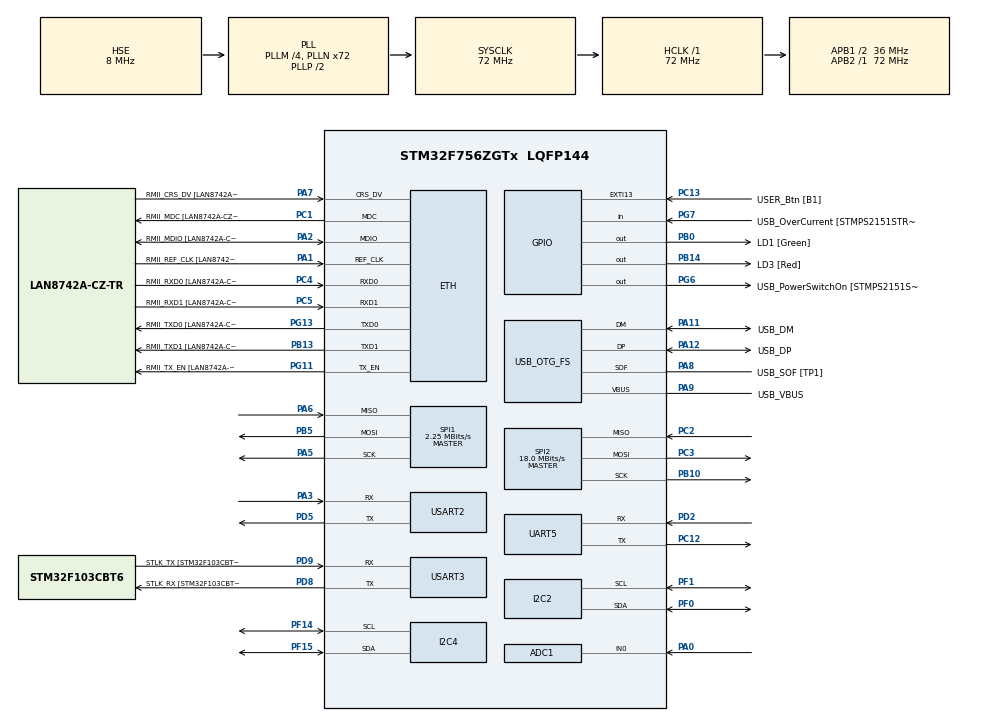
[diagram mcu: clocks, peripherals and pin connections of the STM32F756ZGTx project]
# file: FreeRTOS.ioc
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ADC1.Channel-2\#ChannelRegularConversion=ADC_CHANNEL_0
ADC1.NbrOfConversionFlag=1
ADC1.Rank-2\#ChannelRegularConversion=1
ADC1.SamplingTime-2\#ChannelRegularConversion=ADC_SAMPLETIME_480CYCLES
ADC1.master=1
Dma.I2C2_RX.6.Direction=DMA_PERIPH_TO_MEMORY
Dma.I2C2_RX.6.FIFOMode=DMA_FIFOMODE_DISABLE
Dma.I2C2_RX.6.Instance=DMA1_Stream3
Dma.I2C2_RX.6.MemDataAlignment=DMA_MDATAALIGN_BYTE
Dma.I2C2_RX.6.MemInc=DMA_MINC_ENABLE
Dma.I2C2_RX.6.Mode=DMA_NORMAL
Dma.I2C2_RX.6.PeriphDataAlignment=DMA_PDATAALIGN_BYTE
Dma.I2C2_RX.6.PeriphInc=DMA_PINC_DISABLE
Dma.I2C2_RX.6.Priority=DMA_PRIORITY_LOW
Dma.I2C2_TX.7.Direction=DMA_MEMORY_TO_PERIPH
Dma.I2C2_TX.7.FIFOMode=DMA_FIFOMODE_DISABLE
Dma.I2C2_TX.7.Instance=DMA1_Stream7
Dma.I2C2_TX.7.MemDataAlignment=DMA_MDATAALIGN_BYTE
Dma.I2C2_TX.7.MemInc=DMA_MINC_ENABLE
Dma.I2C2_TX.7.Mode=DMA_NORMAL
Dma.I2C2_TX.7.PeriphDataAlignment=DMA_PDATAALIGN_BYTE
Dma.I2C2_TX.7.PeriphInc=DMA_PINC_DISABLE
Dma.I2C2_TX.7.Priority=DMA_PRIORITY_LOW
Dma.I2C4_RX.5.Direction=DMA_PERIPH_TO_MEMORY
Dma.I2C4_RX.5.FIFOMode=DMA_FIFOMODE_DISABLE
Dma.I2C4_RX.5.Instance=DMA1_Stream2
Dma.I2C4_RX.5.MemDataAlignment=DMA_MDATAALIGN_BYTE
Dma.I2C4_RX.5.MemInc=DMA_MINC_ENABLE
Dma.I2C4_RX.5.Mode=DMA_NORMAL
Dma.I2C4_RX.5.PeriphDataAlignment=DMA_PDATAALIGN_BYTE
Dma.I2C4_RX.5.PeriphInc=DMA_PINC_DISABLE
Dma.I2C4_RX.5.Priority=DMA_PRIORITY_LOW
Dma.Request0=SPI1_RX
Dma.Request1=SPI1_TX
Dma.Request2=SPI2_TX
Dma.Request3=USART2_TX
Dma.Request4=UART5_RX
Dma.Request5=I2C4_RX
Dma.Request6=I2C2_RX
Dma.Request7=I2C2_TX
Dma.SPI1_RX.0.Direction=DMA_PERIPH_TO_MEMORY
Dma.SPI1_RX.0.FIFOMode=DMA_FIFOMODE_DISABLE
Dma.SPI1_RX.0.Instance=DMA2_Stream0
Dma.SPI1_RX.0.MemDataAlignment=DMA_MDATAALIGN_BYTE
Dma.SPI1_RX.0.MemInc=DMA_MINC_ENABLE
Dma.SPI1_RX.0.Mode=DMA_NORMAL
Dma.SPI1_RX.0.PeriphDataAlignment=DMA_PDATAALIGN_BYTE
Dma.SPI1_RX.0.PeriphInc=DMA_PINC_DISABLE
Dma.SPI1_RX.0.Priority=DMA_PRIORITY_LOW
Dma.SPI1_TX.1.Direction=DMA_MEMORY_TO_PERIPH
Dma.SPI1_TX.1.FIFOMode=DMA_FIFOMODE_DISABLE
Dma.SPI1_TX.1.Instance=DMA2_Stream3
Dma.SPI1_TX.1.MemDataAlignment=DMA_MDATAALIGN_BYTE
Dma.SPI1_TX.1.MemInc=DMA_MINC_ENABLE
Dma.SPI1_TX.1.Mode=DMA_NORMAL
Dma.SPI1_TX.1.PeriphDataAlignment=DMA_PDATAALIGN_BYTE
Dma.SPI1_TX.1.PeriphInc=DMA_PINC_DISABLE
Dma.SPI1_TX.1.Priority=DMA_PRIORITY_LOW
Dma.SPI2_TX.2.Direction=DMA_MEMORY_TO_PERIPH
Dma.SPI2_TX.2.FIFOMode=DMA_FIFOMODE_DISABLE
Dma.SPI2_TX.2.Instance=DMA1_Stream4
Dma.SPI2_TX.2.MemDataAlignment=DMA_MDATAALIGN_BYTE
Dma.SPI2_TX.2.MemInc=DMA_MINC_ENABLE
Dma.SPI2_TX.2.Mode=DMA_NORMAL
Dma.SPI2_TX.2.PeriphDataAlignment=DMA_PDATAALIGN_BYTE
Dma.SPI2_TX.2.PeriphInc=DMA_PINC_DISABLE
Dma.SPI2_TX.2.Priority=DMA_PRIORITY_LOW
Dma.UART5_RX.4.Direction=DMA_PERIPH_TO_MEMORY
Dma.UART5_RX.4.FIFOMode=DMA_FIFOMODE_DISABLE
Dma.UART5_RX.4.Instance=DMA1_Stream0
Dma.UART5_RX.4.MemDataAlignment=DMA_MDATAALIGN_BYTE
Dma.UART5_RX.4.MemInc=DMA_MINC_ENABLE
Dma.UART5_RX.4.Mode=DMA_NORMAL
Dma.UART5_RX.4.PeriphDataAlignment=DMA_PDATAALIGN_BYTE
Dma.UART5_RX.4.PeriphInc=DMA_PINC_DISABLE
Dma.UART5_RX.4.Priority=DMA_PRIORITY_LOW
Dma.USART2_TX.3.Direction=DMA_MEMORY_TO_PERIPH
Dma.USART2_TX.3.FIFOMode=DMA_FIFOMODE_DISABLE
Dma.USART2_TX.3.Instance=DMA1_Stream6
Dma.USART2_TX.3.MemDataAlignment=DMA_MDATAALIGN_BYTE
Dma.USART2_TX.3.MemInc=DMA_MINC_ENABLE
Dma.USART2_TX.3.Mode=DMA_NORMAL
Dma.USART2_TX.3.PeriphDataAlignment=DMA_PDATAALIGN_BYTE
Dma.USART2_TX.3.PeriphInc=DMA_PINC_DISABLE
Dma.USART2_TX.3.Priority=DMA_PRIORITY_LOW
ETH.MediaInterface=HAL_ETH_RMII_MODE
ETH.PHY_Name=LAN8742A_PHY_ADDRESS
ETH.PHY_Value=0
ETH.PhyAddress=0
FREERTOS.Tasks01=defaultTask,24,256,StartDefaultTask,Default,NULL,Dynamic,NULL,NULL
FREERTOS.configTOTAL_HEAP_SIZE=65000
FREERTOS.configUSE_NEWLIB_REENTRANT=1
I2C2.Timing=0x00808CD2
I2C4.Timing=0x00808CD2
LWIP.BSP.number=1
LWIP.CMSIS_VERSION-Enabled=1
LWIP.GATEWAY_ADDRESS=192.168.001.001
LWIP.IP_ADDRESS=192.168.001.028
LWIP.LWIP_DHCP=0
LWIP.NETMASK_ADDRESS=255.255.255.000
LWIP.Version=v2.1.2_Cube
LWIP0.BSP.STBoard=false
LWIP0.BSP.api=BSP_COMPONENT_DRIVER
LWIP0.BSP.component=LAN8742
LWIP0.BSP.instance=LAN8742
LWIP0.BSP.name=Driver_PHY
LWIP0.BSP.semaphore=S_LAN8742
LWIP0.BSP.solution=LAN8742
Mcu.Family=STM32F7
Mcu.Name=STM32F756ZGTx
Mcu.Package=LQFP144
NVIC.DMA1_Stream0_IRQn=true\:5\:0\:false\:false\:true\:true\:false\:true\:true
NVIC.DMA1_Stream2_IRQn=true\:5\:0\:false\:false\:true\:true\:false\:true\:true
NVIC.DMA1_Stream3_IRQn=true\:5\:0\:false\:false\:true\:true\:false\:true\:true
NVIC.DMA1_Stream4_IRQn=true\:5\:0\:false\:false\:true\:true\:false\:true\:true
NVIC.DMA1_Stream6_IRQn=true\:5\:0\:false\:false\:true\:true\:false\:true\:true
NVIC.DMA1_Stream7_IRQn=true\:5\:0\:false\:false\:true\:true\:false\:true\:true
NVIC.DMA2_Stream0_IRQn=true\:5\:0\:false\:false\:true\:true\:false\:true\:true
NVIC.DMA2_Stream3_IRQn=true\:5\:0\:false\:false\:true\:true\:false\:true\:true
NVIC.ETH_IRQn=true\:5\:0\:false\:false\:true\:true\:false\:true\:true
NVIC.PriorityGroup=NVIC_PRIORITYGROUP_4
NVIC.SPI1_IRQn=true\:5\:0\:false\:false\:true\:true\:true\:true\:true
NVIC.SPI2_IRQn=true\:5\:0\:false\:false\:true\:true\:true\:true\:true
NVIC.TIM1_UP_TIM10_IRQn=true\:5\:0\:false\:false\:true\:true\:true\:true\:true
NVIC.TIM6_DAC_IRQn=true\:15\:0\:false\:false\:true\:false\:false\:true\:true
NVIC.TimeBase=TIM6_DAC_IRQn
NVIC.TimeBaseIP=TIM6
NVIC.UART5_IRQn=true\:5\:0\:false\:false\:true\:true\:true\:true\:true
NVIC.USART2_IRQn=true\:5\:0\:false\:false\:true\:true\:true\:true\:true
PA0/WKUP.Signal=ADCx_IN0
PA1.GPIO_Label=RMII_REF_CLK [LAN8742A-CZ-TR_REFCLK0]
PA1.Mode=RMII
PA1.Signal=ETH_REF_CLK
PA10.GPIO_Label=USB_ID
PA10.Signal=USB_OTG_FS_ID
PA11.GPIO_Label=USB_DM
PA11.Mode=Device_Only
PA11.Signal=USB_OTG_FS_DM
PA12.GPIO_Label=USB_DP
PA12.Mode=Device_Only
PA12.Signal=USB_OTG_FS_DP
PA13.GPIO_Label=TMS
PA13.Mode=Trace_Asynchronous_SW
PA13.Signal=SYS_JTMS-SWDIO
PA14.GPIO_Label=TCK
PA14.Mode=Trace_Asynchronous_SW
PA14.Signal=SYS_JTCK-SWCLK
PA2.GPIO_Label=RMII_MDIO [LAN8742A-CZ-TR_MDIO]
PA2.Mode=RMII
PA2.Signal=ETH_MDIO
PA3.Mode=Asynchronous
PA3.Signal=USART2_RX
PA5.Mode=Full_Duplex_Master
PA5.Signal=SPI1_SCK
PA6.Mode=Full_Duplex_Master
PA6.Signal=SPI1_MISO
PA7.GPIO_Label=RMII_CRS_DV [LAN8742A-CZ-TR_CRS_DV]
PA7.Mode=RMII
PA7.Signal=ETH_CRS_DV
PA8.GPIO_Label=USB_SOF [TP1]
PA8.Mode=Activate_SOF_FS
PA8.Signal=USB_OTG_FS_SOF
PA9.GPIO_Label=USB_VBUS
PA9.Mode=Activate_VBUS
PA9.Signal=USB_OTG_FS_VBUS
PB0.GPIO_Label=LD1 [Green]
PB0.Signal=GPIO_Output
PB10.Mode=Full_Duplex_Master
PB10.Signal=SPI2_SCK
PB13.GPIO_Label=RMII_TXD1 [LAN8742A-CZ-TR_TXD1]
PB13.Mode=RMII
PB13.Signal=ETH_TXD1
PB14.GPIO_Label=LD3 [Red]
PB14.Signal=GPIO_Output
PB3.GPIO_Label=SW0
PB3.Mode=Trace_Asynchronous_SW
PB3.Signal=SYS_JTDO-SWO
PB5.Mode=Full_Duplex_Master
PB5.Signal=SPI1_MOSI
PB8.Signal=I2C1_SCL
PC1.GPIO_Label=RMII_MDC [LAN8742A-CZ-TR_MDC]
PC1.Mode=RMII
PC1.Signal=ETH_MDC
PC12.Mode=Asynchronous
PC12.Signal=UART5_TX
PC13.GPIO_Label=USER_Btn [B1]
PC13.Signal=GPXTI13
PC14/OSC32_IN.Mode=LSE-External-Oscillator
PC14/OSC32_IN.Signal=RCC_OSC32_IN
PC15/OSC32_OUT.Mode=LSE-External-Oscillator
PC15/OSC32_OUT.Signal=RCC_OSC32_OUT
PC2.Mode=Full_Duplex_Master
PC2.Signal=SPI2_MISO
PC3.Mode=Full_Duplex_Master
PC3.Signal=SPI2_MOSI
PC4.GPIO_Label=RMII_RXD0 [LAN8742A-CZ-TR_RXD0]
PC4.Mode=RMII
PC4.Signal=ETH_RXD0
PC5.GPIO_Label=RMII_RXD1 [LAN8742A-CZ-TR_RXD1]
PC5.Mode=RMII
PC5.Signal=ETH_RXD1
PD2.Mode=Asynchronous
PD2.Signal=UART5_RX
PD5.Mode=Asynchronous
PD5.Signal=USART2_TX
PD8.GPIO_Label=STLK_RX [STM32F103CBT6_PA3]
PD8.Mode=Asynchronous
PD8.Signal=USART3_TX
PD9.GPIO_Label=STLK_TX [STM32F103CBT6_PA2]
PD9.Mode=Asynchronous
PD9.Signal=USART3_RX
PF0.Mode=I2C
PF0.Signal=I2C2_SDA
PF1.Mode=I2C
PF1.Signal=I2C2_SCL
PF14.Mode=I2C
PF14.Signal=I2C4_SCL
PF15.Mode=I2C
PF15.Signal=I2C4_SDA
PG11.GPIO_Label=RMII_TX_EN [LAN8742A-CZ-TR_TXEN]
PG11.Mode=RMII
PG11.Signal=ETH_TX_EN
PG13.GPIO_Label=RMII_TXD0 [LAN8742A-CZ-TR_TXD0]
PG13.Mode=RMII
PG13.Signal=ETH_TXD0
PG6.GPIO_Label=USB_PowerSwitchOn [STMPS2151STR_EN]
PG6.Signal=GPIO_Output
PG7.GPIO_Label=USB_OverCurrent [STMPS2151STR_FAULT]
PG7.Signal=GPIO_Input
PH0/OSC_IN.GPIO_Label=MCO [STM32F103CBT6_PA8]
PH0/OSC_IN.Mode=HSE-External-Clock-Source
PH0/OSC_IN.Signal=RCC_OSC_IN
PH1/OSC_OUT.Mode=HSE-External-Clock-Source
PH1/OSC_OUT.Signal=RCC_OSC_OUT
ProjectManager.HeapSize=0x200
ProjectManager.StackSize=0x400
ProjectManager.TargetToolchain=STM32CubeIDE
RCC.48MHZClocksFreq_Value=24000000
RCC.AHBFreq_Value=72000000
RCC.APB1CLKDivider=RCC_HCLK_DIV2
RCC.APB1Freq_Value=36000000
RCC.APB1TimFreq_Value=72000000
RCC.APB2Freq_Value=72000000
RCC.APB2TimFreq_Value=72000000
RCC.CortexFreq_Value=72000000
RCC.HCLKFreq_Value=72000000
RCC.HSE_VALUE=8000000
RCC.HSI_VALUE=16000000
RCC.PLLM=4
RCC.PLLMUL=RCC_PLL_MUL9
RCC.PLLN=72
RCC.PLLQ=3
RCC.PRESCALERUSB=RCC_USBCLKSOURCE_PLL_DIV1_5
RCC.SYSCLKFreq_VALUE=72000000
RCC.SYSCLKSource=RCC_SYSCLKSOURCE_PLLCLK
RCC.SYSCLKSourceVirtual=RCC_SYSCLKSOURCE_PLLCLK
RCC.USBFreq_Value=48000000
RCC.VCOOutputFreq_Value=144000000
SH.ADCx_IN0.0=ADC1_IN0,IN0
SPI1.BaudRatePrescaler=SPI_BAUDRATEPRESCALER_32
SPI1.CRCCalculation=SPI_CRCCALCULATION_DISABLE
SPI1.CalculateBaudRate=2.25 MBits/s
SPI1.DataSize=SPI_DATASIZE_8BIT
SPI1.Direction=SPI_DIRECTION_2LINES
SPI1.FirstBit=SPI_FIRSTBIT_LSB
SPI1.Mode=SPI_MODE_MASTER
SPI1.VirtualType=VM_MASTER
SPI2.CRCCalculation=SPI_CRCCALCULATION_DISABLE
SPI2.CalculateBaudRate=18.0 MBits/s
SPI2.DataSize=SPI_DATASIZE_8BIT
SPI2.Direction=SPI_DIRECTION_2LINES
SPI2.Mode=SPI_MODE_MASTER
SPI2.NSSPMode=SPI_NSS_PULSE_DISABLE
SPI2.VirtualType=VM_MASTER
TIM1.Period=9999
TIM1.Prescaler=7199
USART2.VirtualMode-Asynchronous=VM_ASYNC
USART3.VirtualMode-Asynchronous=VM_ASYNC
USB_OTG_FS.VirtualMode=Device_Only
VP_FREERTOS_VS_CMSIS_V2.Mode=CMSIS_V2
VP_LWIP_VS_Enabled.Mode=Enabled
VP_SYS_VS_tim6.Mode=TIM6
VP_TIM1_VS_ClockSourceINT.Mode=Internal
board=NUCLEO-F756ZG

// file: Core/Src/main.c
/* USER CODE BEGIN Header */
/**
  ******************************************************************************
  * @file           : main.c
  * @brief          : Main program body
  ******************************************************************************
  * @attention
  *
  * Copyright (c) 2025 STMicroelectronics.
  * All rights reserved.
  *
  * This software is licensed under terms that can be found in the LICENSE file
  * in the root directory of this software component.
  * If no LICENSE file comes with this software, it is provided AS-IS.
  *
  ******************************************************************************
  */
/* USER CODE END Header */
#include "main.h"
#include "cmsis_os.h"
#include "lwip.h"

#include "test_uart.h"
#include "test_spi.h"
#include "test_i2c.h"
#include "test_timer.h"
#include "test_adc.h"
#include "test_results.h"
/* USER CODE BEGIN Includes */
#include "udp_server.h"
#include "FreeRTOS.h"
#include "semphr.h"
extern struct netif gnetif;
extern SemaphoreHandle_t udp_tx_mutex;
/* USER CODE END Includes */

/* USER CODE BEGIN PTD */
extern QueueHandle_t   xQueue_adc;
extern QueueHandle_t   xQueue_uart;
extern QueueHandle_t   xQueue_spi;
extern QueueHandle_t   xQueue_i2c;
extern QueueHandle_t   xQueue_tmr;
extern  volatile uint8_t udp_packet_ready ;
/* USER CODE END PTD */

ADC_HandleTypeDef hadc1;

I2C_HandleTypeDef hi2c2;
I2C_HandleTypeDef hi2c4;
DMA_HandleTypeDef hdma_i2c2_rx;
DMA_HandleTypeDef hdma_i2c2_tx;
DMA_HandleTypeDef hdma_i2c4_rx;

SPI_HandleTypeDef hspi1;
SPI_HandleTypeDef hspi2;
DMA_HandleTypeDef hdma_spi1_rx;
DMA_HandleTypeDef hdma_spi1_tx;
DMA_HandleTypeDef hdma_spi2_tx;

TIM_HandleTypeDef htim1;

UART_HandleTypeDef huart5;
UART_HandleTypeDef huart2;
UART_HandleTypeDef huart3;
DMA_HandleTypeDef hdma_uart5_rx;
DMA_HandleTypeDef hdma_usart2_tx;

PCD_HandleTypeDef hpcd_USB_OTG_FS;

/* Definitions for defaultTask */
osThreadId_t defaultTaskHandle;
const osThreadAttr_t defaultTask_attributes = {
  .name = "defaultTask",
  .stack_size = 256 * 4,
  .priority = (osPriority_t) osPriorityNormal,
};

void SystemClock_Config(void);
static void MX_GPIO_Init(void);
static void MX_DMA_Init(void);
static void MX_USB_OTG_FS_PCD_Init(void);
static void MX_ADC1_Init(void);
static void MX_SPI1_Init(void);
static void MX_TIM1_Init(void);
static void MX_SPI2_Init(void);
static void MX_USART2_UART_Init(void);
static void MX_UART5_Init(void);
static void MX_I2C4_Init(void);
static void MX_I2C2_Init(void);
static void MX_USART3_UART_Init(void);
void StartDefaultTask(void *argument);

int main(void)
{

  /* MCU Configuration--------------------------------------------------------*/

  /* Reset of all peripherals, Initializes the Flash interface and the Systick. */
  HAL_Init();

  /* Configure the system clock */
  SystemClock_Config();

  /* Initialize all configured peripherals */
  MX_GPIO_Init();
  MX_DMA_Init();
  MX_USB_OTG_FS_PCD_Init();
  MX_ADC1_Init();
  MX_SPI1_Init();
  MX_TIM1_Init();
  MX_SPI2_Init();
  MX_USART2_UART_Init();
  MX_UART5_Init();
  MX_I2C4_Init();
  MX_I2C2_Init();
  MX_USART3_UART_Init();

  /* Init scheduler */

  osKernelInitialize();

  /* USER CODE BEGIN 2 */

   init_adc_task();
   init_i2c_task();
  // init_spi_task();
   init_tmr_task();
   init_uart_task();
   init_result();
   /* USER CODE END 2 */

  /* Create the thread(s) */
  /* creation of defaultTask */
  defaultTaskHandle = osThreadNew(StartDefaultTask, NULL, &defaultTask_attributes);

  /* Start scheduler */
  osKernelStart();

  /* We should never get here as control is now taken by the scheduler */

  /* Infinite loop */
  while (1)
  {

  }
}

void SystemClock_Config(void)
{
  RCC_OscInitTypeDef RCC_OscInitStruct = {0};
  RCC_ClkInitTypeDef RCC_ClkInitStruct = {0};

  /** Configure LSE Drive Capability
  */
  HAL_PWR_EnableBkUpAccess();

  /** Configure the main internal regulator output voltage
  */
  __HAL_RCC_PWR_CLK_ENABLE();
  __HAL_PWR_VOLTAGESCALING_CONFIG(PWR_REGULATOR_VOLTAGE_SCALE3);

  /** Initializes the RCC Oscillators according to the specified parameters
  * in the RCC_OscInitTypeDef structure.
  */
  RCC_OscInitStruct.OscillatorType = RCC_OSCILLATORTYPE_HSE;
  RCC_OscInitStruct.HSEState = RCC_HSE_BYPASS;
  RCC_OscInitStruct.PLL.PLLState = RCC_PLL_ON;
  RCC_OscInitStruct.PLL.PLLSource = RCC_PLLSOURCE_HSE;
  RCC_OscInitStruct.PLL.PLLM = 4;
  RCC_OscInitStruct.PLL.PLLN = 72;
  RCC_OscInitStruct.PLL.PLLP = RCC_PLLP_DIV2;
  RCC_OscInitStruct.PLL.PLLQ = 3;
  if (HAL_RCC_OscConfig(&RCC_OscInitStruct) != HAL_OK)
  {
    Error_Handler();
  }

  /** Initializes the CPU, AHB and APB buses clocks
  */
  RCC_ClkInitStruct.ClockType = RCC_CLOCKTYPE_HCLK|RCC_CLOCKTYPE_SYSCLK
                              |RCC_CLOCKTYPE_PCLK1|RCC_CLOCKTYPE_PCLK2;
  RCC_ClkInitStruct.SYSCLKSource = RCC_SYSCLKSOURCE_PLLCLK;
  RCC_ClkInitStruct.AHBCLKDivider = RCC_SYSCLK_DIV1;
  RCC_ClkInitStruct.APB1CLKDivider = RCC_HCLK_DIV2;
  RCC_ClkInitStruct.APB2CLKDivider = RCC_HCLK_DIV1;

  if (HAL_RCC_ClockConfig(&RCC_ClkInitStruct, FLASH_LATENCY_2) != HAL_OK)
  {
    Error_Handler();
  }
}

static void MX_ADC1_Init(void)
{

  ADC_ChannelConfTypeDef sConfig = {0};

  /** Configure the global features of the ADC (Clock, Resolution, Data Alignment and number of conversion)
  */
  hadc1.Instance = ADC1;
  hadc1.Init.ClockPrescaler = ADC_CLOCK_SYNC_PCLK_DIV2;
  hadc1.Init.Resolution = ADC_RESOLUTION_12B;
  hadc1.Init.ScanConvMode = ADC_SCAN_DISABLE;
  hadc1.Init.ContinuousConvMode = DISABLE;
  hadc1.Init.DiscontinuousConvMode = DISABLE;
  hadc1.Init.ExternalTrigConvEdge = ADC_EXTERNALTRIGCONVEDGE_NONE;
  hadc1.Init.ExternalTrigConv = ADC_SOFTWARE_START;
  hadc1.Init.DataAlign = ADC_DATAALIGN_RIGHT;
  hadc1.Init.NbrOfConversion = 1;
  hadc1.Init.DMAContinuousRequests = DISABLE;
  hadc1.Init.EOCSelection = ADC_EOC_SINGLE_CONV;
  if (HAL_ADC_Init(&hadc1) != HAL_OK)
  {
    Error_Handler();
  }

  /** Configure for the selected ADC regular channel its corresponding rank in the sequencer and its sample time.
  */
  sConfig.Channel = ADC_CHANNEL_0;
  sConfig.Rank = ADC_REGULAR_RANK_1;
  sConfig.SamplingTime = ADC_SAMPLETIME_480CYCLES;
  if (HAL_ADC_ConfigChannel(&hadc1, &sConfig) != HAL_OK)
  {
    Error_Handler();
  }

}

static void MX_I2C2_Init(void)
{

  hi2c2.Instance = I2C2;
  hi2c2.Init.Timing = 0x00808CD2;
  hi2c2.Init.OwnAddress1 = 0;
  hi2c2.Init.AddressingMode = I2C_ADDRESSINGMODE_7BIT;
  hi2c2.Init.DualAddressMode = I2C_DUALADDRESS_DISABLE;
  hi2c2.Init.OwnAddress2 = 0;
  hi2c2.Init.OwnAddress2Masks = I2C_OA2_NOMASK;
  hi2c2.Init.GeneralCallMode = I2C_GENERALCALL_DISABLE;
  hi2c2.Init.NoStretchMode = I2C_NOSTRETCH_DISABLE;
  if (HAL_I2C_Init(&hi2c2) != HAL_OK)
  {
    Error_Handler();
  }

  /** Configure Analogue filter
  */
  if (HAL_I2CEx_ConfigAnalogFilter(&hi2c2, I2C_ANALOGFILTER_ENABLE) != HAL_OK)
  {
    Error_Handler();
  }

  /** Configure Digital filter
  */
  if (HAL_I2CEx_ConfigDigitalFilter(&hi2c2, 0) != HAL_OK)
  {
    Error_Handler();
  }

}

static void MX_I2C4_Init(void)
{

  hi2c4.Instance = I2C4;
  hi2c4.Init.Timing = 0x00808CD2;
  hi2c4.Init.OwnAddress1 = 0;
  hi2c4.Init.AddressingMode = I2C_ADDRESSINGMODE_7BIT;
  hi2c4.Init.DualAddressMode = I2C_DUALADDRESS_DISABLE;
  hi2c4.Init.OwnAddress2 = 0;
  hi2c4.Init.OwnAddress2Masks = I2C_OA2_NOMASK;
  hi2c4.Init.GeneralCallMode = I2C_GENERALCALL_DISABLE;
  hi2c4.Init.NoStretchMode = I2C_NOSTRETCH_DISABLE;
  if (HAL_I2C_Init(&hi2c4) != HAL_OK)
  {
    Error_Handler();
  }

  /** Configure Analogue filter
  */
  if (HAL_I2CEx_ConfigAnalogFilter(&hi2c4, I2C_ANALOGFILTER_ENABLE) != HAL_OK)
  {
    Error_Handler();
  }

  /** Configure Digital filter
  */
  if (HAL_I2CEx_ConfigDigitalFilter(&hi2c4, 0) != HAL_OK)
  {
    Error_Handler();
  }

}

static void MX_SPI1_Init(void)
{

  /* SPI1 parameter configuration*/
  hspi1.Instance = SPI1;
  hspi1.Init.Mode = SPI_MODE_MASTER;
  hspi1.Init.Direction = SPI_DIRECTION_2LINES;
  hspi1.Init.DataSize = SPI_DATASIZE_8BIT;
  hspi1.Init.CLKPolarity = SPI_POLARITY_LOW;
  hspi1.Init.CLKPhase = SPI_PHASE_1EDGE;
  hspi1.Init.NSS = SPI_NSS_SOFT;
  hspi1.Init.BaudRatePrescaler = SPI_BAUDRATEPRESCALER_32;
  hspi1.Init.FirstBit = SPI_FIRSTBIT_LSB;
  hspi1.Init.TIMode = SPI_TIMODE_DISABLE;
  hspi1.Init.CRCCalculation = SPI_CRCCALCULATION_DISABLE;
  hspi1.Init.CRCPolynomial = 7;
  hspi1.Init.CRCLength = SPI_CRC_LENGTH_DATASIZE;
  hspi1.Init.NSSPMode = SPI_NSS_PULSE_ENABLE;
  if (HAL_SPI_Init(&hspi1) != HAL_OK)
  {
    Error_Handler();
  }

}

static void MX_SPI2_Init(void)
{

  /* SPI2 parameter configuration*/
  hspi2.Instance = SPI2;
  hspi2.Init.Mode = SPI_MODE_MASTER;
  hspi2.Init.Direction = SPI_DIRECTION_2LINES;
  hspi2.Init.DataSize = SPI_DATASIZE_8BIT;
  hspi2.Init.CLKPolarity = SPI_POLARITY_LOW;
  hspi2.Init.CLKPhase = SPI_PHASE_1EDGE;
  hspi2.Init.NSS = SPI_NSS_SOFT;
  hspi2.Init.BaudRatePrescaler = SPI_BAUDRATEPRESCALER_2;
  hspi2.Init.FirstBit = SPI_FIRSTBIT_MSB;
  hspi2.Init.TIMode = SPI_TIMODE_DISABLE;
  hspi2.Init.CRCCalculation = SPI_CRCCALCULATION_DISABLE;
  hspi2.Init.CRCPolynomial = 7;
  hspi2.Init.CRCLength = SPI_CRC_LENGTH_DATASIZE;
  hspi2.Init.NSSPMode = SPI_NSS_PULSE_DISABLE;
  if (HAL_SPI_Init(&hspi2) != HAL_OK)
  {
    Error_Handler();
  }

}

static void MX_TIM1_Init(void)
{

  TIM_ClockConfigTypeDef sClockSourceConfig = {0};
  TIM_MasterConfigTypeDef sMasterConfig = {0};

  htim1.Instance = TIM1;
  htim1.Init.Prescaler = 7199;
  htim1.Init.CounterMode = TIM_COUNTERMODE_UP;
  htim1.Init.Period = 9999;
  htim1.Init.ClockDivision = TIM_CLOCKDIVISION_DIV1;
  htim1.Init.RepetitionCounter = 0;
  htim1.Init.AutoReloadPreload = TIM_AUTORELOAD_PRELOAD_DISABLE;
  if (HAL_TIM_Base_Init(&htim1) != HAL_OK)
  {
    Error_Handler();
  }
  sClockSourceConfig.ClockSource = TIM_CLOCKSOURCE_INTERNAL;
  if (HAL_TIM_ConfigClockSource(&htim1, &sClockSourceConfig) != HAL_OK)
  {
    Error_Handler();
  }
  sMasterConfig.MasterOutputTrigger = TIM_TRGO_RESET;
  sMasterConfig.MasterOutputTrigger2 = TIM_TRGO2_RESET;
  sMasterConfig.MasterSlaveMode = TIM_MASTERSLAVEMODE_DISABLE;
  if (HAL_TIMEx_MasterConfigSynchronization(&htim1, &sMasterConfig) != HAL_OK)
  {
    Error_Handler();
  }

}

static void MX_UART5_Init(void)
{

  huart5.Instance = UART5;
  huart5.Init.BaudRate = 115200;
  huart5.Init.WordLength = UART_WORDLENGTH_8B;
  huart5.Init.StopBits = UART_STOPBITS_1;
  huart5.Init.Parity = UART_PARITY_NONE;
  huart5.Init.Mode = UART_MODE_TX_RX;
  huart5.Init.HwFlowCtl = UART_HWCONTROL_NONE;
  huart5.Init.OverSampling = UART_OVERSAMPLING_16;
  huart5.Init.OneBitSampling = UART_ONE_BIT_SAMPLE_DISABLE;
  huart5.AdvancedInit.AdvFeatureInit = UART_ADVFEATURE_NO_INIT;
  if (HAL_UART_Init(&huart5) != HAL_OK)
  {
    Error_Handler();
  }

}

static void MX_USART2_UART_Init(void)
{

  huart2.Instance = USART2;
  huart2.Init.BaudRate = 115200;
  huart2.Init.WordLength = UART_WORDLENGTH_8B;
  huart2.Init.StopBits = UART_STOPBITS_1;
  huart2.Init.Parity = UART_PARITY_NONE;
  huart2.Init.Mode = UART_MODE_TX_RX;
  huart2.Init.HwFlowCtl = UART_HWCONTROL_NONE;
  huart2.Init.OverSampling = UART_OVERSAMPLING_16;
  huart2.Init.OneBitSampling = UART_ONE_BIT_SAMPLE_DISABLE;
  huart2.AdvancedInit.AdvFeatureInit = UART_ADVFEATURE_NO_INIT;
  if (HAL_UART_Init(&huart2) != HAL_OK)
  {
    Error_Handler();
  }

}

static void MX_USART3_UART_Init(void)
{

  huart3.Instance = USART3;
  huart3.Init.BaudRate = 115200;
  huart3.Init.WordLength = UART_WORDLENGTH_8B;
  huart3.Init.StopBits = UART_STOPBITS_1;
  huart3.Init.Parity = UART_PARITY_NONE;
  huart3.Init.Mode = UART_MODE_TX_RX;
  huart3.Init.HwFlowCtl = UART_HWCONTROL_NONE;
  huart3.Init.OverSampling = UART_OVERSAMPLING_16;
  huart3.Init.OneBitSampling = UART_ONE_BIT_SAMPLE_DISABLE;
  huart3.AdvancedInit.AdvFeatureInit = UART_ADVFEATURE_NO_INIT;
  if (HAL_UART_Init(&huart3) != HAL_OK)
  {
    Error_Handler();
  }

}

static void MX_USB_OTG_FS_PCD_Init(void)
{

  hpcd_USB_OTG_FS.Instance = USB_OTG_FS;
  hpcd_USB_OTG_FS.Init.dev_endpoints = 6;
  hpcd_USB_OTG_FS.Init.speed = PCD_SPEED_FULL;
  hpcd_USB_OTG_FS.Init.dma_enable = DISABLE;
  hpcd_USB_OTG_FS.Init.phy_itface = PCD_PHY_EMBEDDED;
  hpcd_USB_OTG_FS.Init.Sof_enable = ENABLE;
  hpcd_USB_OTG_FS.Init.low_power_enable = DISABLE;
  hpcd_USB_OTG_FS.Init.lpm_enable = DISABLE;
  hpcd_USB_OTG_FS.Init.vbus_sensing_enable = ENABLE;
  hpcd_USB_OTG_FS.Init.use_dedicated_ep1 = DISABLE;
  if (HAL_PCD_Init(&hpcd_USB_OTG_FS) != HAL_OK)
  {
    Error_Handler();
  }

}

static void MX_DMA_Init(void)
{

  /* DMA controller clock enable */
  __HAL_RCC_DMA2_CLK_ENABLE();
  __HAL_RCC_DMA1_CLK_ENABLE();

  /* DMA interrupt init */
  /* DMA1_Stream0_IRQn interrupt configuration */
  HAL_NVIC_SetPriority(DMA1_Stream0_IRQn, 5, 0);
  HAL_NVIC_EnableIRQ(DMA1_Stream0_IRQn);
  /* DMA1_Stream2_IRQn interrupt configuration */
  HAL_NVIC_SetPriority(DMA1_Stream2_IRQn, 5, 0);
  HAL_NVIC_EnableIRQ(DMA1_Stream2_IRQn);
  /* DMA1_Stream3_IRQn interrupt configuration */
  HAL_NVIC_SetPriority(DMA1_Stream3_IRQn, 5, 0);
  HAL_NVIC_EnableIRQ(DMA1_Stream3_IRQn);
  /* DMA1_Stream4_IRQn interrupt configuration */
  HAL_NVIC_SetPriority(DMA1_Stream4_IRQn, 5, 0);
  HAL_NVIC_EnableIRQ(DMA1_Stream4_IRQn);
  /* DMA1_Stream6_IRQn interrupt configuration */
  HAL_NVIC_SetPriority(DMA1_Stream6_IRQn, 5, 0);
  HAL_NVIC_EnableIRQ(DMA1_Stream6_IRQn);
  /* DMA1_Stream7_IRQn interrupt configuration */
  HAL_NVIC_SetPriority(DMA1_Stream7_IRQn, 5, 0);
  HAL_NVIC_EnableIRQ(DMA1_Stream7_IRQn);
  /* DMA2_Stream0_IRQn interrupt configuration */
  HAL_NVIC_SetPriority(DMA2_Stream0_IRQn, 5, 0);
  HAL_NVIC_EnableIRQ(DMA2_Stream0_IRQn);
  /* DMA2_Stream3_IRQn interrupt configuration */
  HAL_NVIC_SetPriority(DMA2_Stream3_IRQn, 5, 0);
  HAL_NVIC_EnableIRQ(DMA2_Stream3_IRQn);

}

static void MX_GPIO_Init(void)
{
  GPIO_InitTypeDef GPIO_InitStruct = {0};

  /* GPIO Ports Clock Enable */
  __HAL_RCC_GPIOC_CLK_ENABLE();
  __HAL_RCC_GPIOF_CLK_ENABLE();
  __HAL_RCC_GPIOH_CLK_ENABLE();
  __HAL_RCC_GPIOA_CLK_ENABLE();
  __HAL_RCC_GPIOB_CLK_ENABLE();
  __HAL_RCC_GPIOD_CLK_ENABLE();
  __HAL_RCC_GPIOG_CLK_ENABLE();

  /*Configure GPIO pin Output Level */
  HAL_GPIO_WritePin(GPIOB, LD1_Pin|LD3_Pin, GPIO_PIN_RESET);

  /*Configure GPIO pin Output Level */
  HAL_GPIO_WritePin(USB_PowerSwitchOn_GPIO_Port, USB_PowerSwitchOn_Pin, GPIO_PIN_RESET);

  /*Configure GPIO pin : USER_Btn_Pin */
  GPIO_InitStruct.Pin = USER_Btn_Pin;
  GPIO_InitStruct.Mode = GPIO_MODE_IT_RISING;
  GPIO_InitStruct.Pull = GPIO_NOPULL;
  HAL_GPIO_Init(USER_Btn_GPIO_Port, &GPIO_InitStruct);

  /*Configure GPIO pins : LD1_Pin LD3_Pin */
  GPIO_InitStruct.Pin = LD1_Pin|LD3_Pin;
  GPIO_InitStruct.Mode = GPIO_MODE_OUTPUT_PP;
  GPIO_InitStruct.Pull = GPIO_NOPULL;
  GPIO_InitStruct.Speed = GPIO_SPEED_FREQ_LOW;
  HAL_GPIO_Init(GPIOB, &GPIO_InitStruct);

  /*Configure GPIO pin : USB_PowerSwitchOn_Pin */
  GPIO_InitStruct.Pin = USB_PowerSwitchOn_Pin;
  GPIO_InitStruct.Mode = GPIO_MODE_OUTPUT_PP;
  GPIO_InitStruct.Pull = GPIO_NOPULL;
  GPIO_InitStruct.Speed = GPIO_SPEED_FREQ_LOW;
  HAL_GPIO_Init(USB_PowerSwitchOn_GPIO_Port, &GPIO_InitStruct);

  /*Configure GPIO pin : USB_OverCurrent_Pin */
  GPIO_InitStruct.Pin = USB_OverCurrent_Pin;
  GPIO_InitStruct.Mode = GPIO_MODE_INPUT;
  GPIO_InitStruct.Pull = GPIO_NOPULL;
  HAL_GPIO_Init(USB_OverCurrent_GPIO_Port, &GPIO_InitStruct);

  /*Configure GPIO pin : PB8 */
  GPIO_InitStruct.Pin = GPIO_PIN_8;
  GPIO_InitStruct.Mode = GPIO_MODE_AF_OD;
  GPIO_InitStruct.Pull = GPIO_NOPULL;
  GPIO_InitStruct.Speed = GPIO_SPEED_FREQ_VERY_HIGH;
  GPIO_InitStruct.Alternate = GPIO_AF4_I2C1;
  HAL_GPIO_Init(GPIOB, &GPIO_InitStruct);

}

void StartDefaultTask(void *argument)
{
  /* init code for LWIP */
  MX_LWIP_Init();
  /* USER CODE BEGIN 5 */
  UDP_Server_Init();
  /* Infinite loop */
  for(;;)
  {

	         UDP_Server_Task();
 osDelay(1);
  }
  /* USER CODE END 5 */
}

/* USER CODE BEGIN 3 */
int _write(int file, char *ptr, int len)
{
    for (int i = 0; i < len; i++) {
        if (ptr[i] == '\n') {
            uint8_t cr = '\r';
            HAL_UART_Transmit(&huart3, &cr, 1, HAL_MAX_DELAY);
        }
        HAL_UART_Transmit(&huart3, (uint8_t *)&ptr[i], 1, HAL_MAX_DELAY);
    }
    return len;
}
/* USER CODE END  3 */
void HAL_TIM_PeriodElapsedCallback(TIM_HandleTypeDef *htim)
{
  if (htim->Instance == TIM6)
  {
    HAL_IncTick();
  }
}

void Error_Handler(void)
{
  __disable_irq();
  while (1)
  {
  }
}
